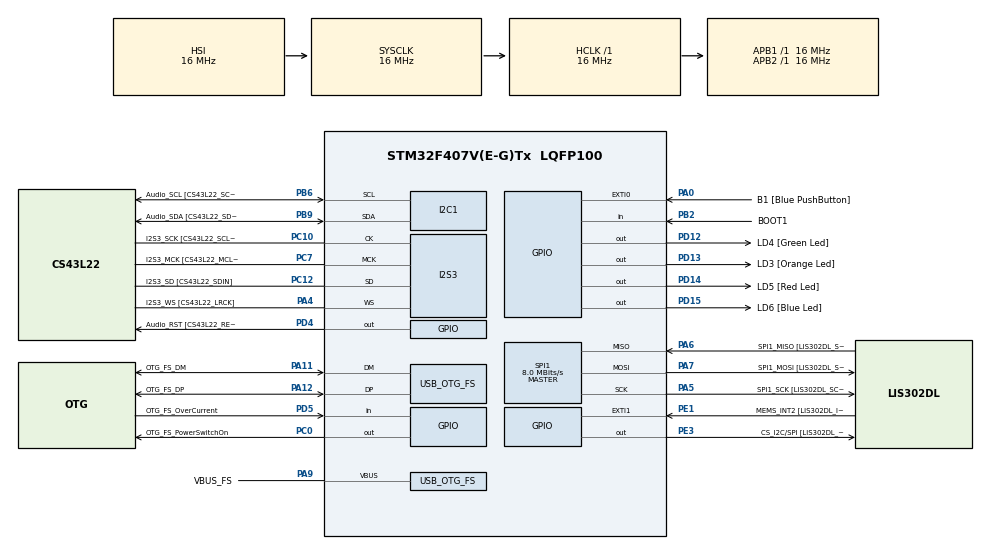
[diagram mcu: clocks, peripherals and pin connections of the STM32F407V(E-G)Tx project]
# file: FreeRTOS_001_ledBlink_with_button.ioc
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FREERTOS.Tasks01=button,24,128,buttonControlTest,Default,NULL,Dynamic,NULL,NULL;led,24,128,ledFlashTask,Default,NULL,Dynamic,NULL,NULL
FREERTOS.configENABLE_FPU=1
I2S3.AudioFreq-Half_Duplex_Master=I2S_AUDIOFREQ_96K
I2S3.ErrorAudioFreq=-2.34 %
I2S3.ErrorAudioFreq-Half_Duplex_Master=0.8 %
I2S3.FullDuplexMode=I2S_FULLDUPLEXMODE_DISABLE
I2S3.Instance=SPI$Index
I2S3.RealAudioFreq=93.75 KHz
I2S3.RealAudioFreq-Half_Duplex_Master=96.774 KHz
I2S3.VirtualMode=I2S_MODE_MASTER
Mcu.Family=STM32F4
Mcu.Name=STM32F407V(E-G)Tx
Mcu.Package=LQFP100
NVIC.OTG_FS_IRQn=true\:5\:0\:false\:false\:true\:true\:true\:true\:true
NVIC.PriorityGroup=NVIC_PRIORITYGROUP_4
PA0-WKUP.GPIO_Label=B1 [Blue PushButton]
PA0-WKUP.GPIO_ModeDefaultEXTI=GPIO_MODE_EVT_RISING
PA0-WKUP.GPIO_PuPd=GPIO_NOPULL
PA0-WKUP.Signal=GPXTI0
PA10.GPIO_Label=OTG_FS_ID
PA10.GPIO_Mode=GPIO_MODE_AF_PP
PA10.GPIO_PuPd=GPIO_NOPULL
PA10.GPIO_Speed=GPIO_SPEED_FREQ_LOW
PA10.Signal=USB_OTG_FS_ID
PA11.GPIO_Label=OTG_FS_DM
PA11.GPIO_Mode=GPIO_MODE_AF_PP
PA11.GPIO_PuPd=GPIO_NOPULL
PA11.GPIO_Speed=GPIO_SPEED_FREQ_LOW
PA11.Mode=Host_Only
PA11.Signal=USB_OTG_FS_DM
PA12.GPIO_Label=OTG_FS_DP
PA12.GPIO_Mode=GPIO_MODE_AF_PP
PA12.GPIO_PuPd=GPIO_NOPULL
PA12.GPIO_Speed=GPIO_SPEED_FREQ_LOW
PA12.Mode=Host_Only
PA12.Signal=USB_OTG_FS_DP
PA13.GPIO_Label=SWDIO
PA13.Mode=Serial_Wire
PA13.Signal=SYS_JTMS-SWDIO
PA14.GPIO_Label=SWCLK
PA14.Mode=Serial_Wire
PA14.Signal=SYS_JTCK-SWCLK
PA4.GPIO_Label=I2S3_WS [CS43L22_LRCK]
PA4.GPIO_Mode=GPIO_MODE_AF_PP
PA4.GPIO_PuPd=GPIO_NOPULL
PA4.GPIO_Speed=GPIO_SPEED_FREQ_LOW
PA4.Mode=Half_Duplex_Master
PA4.Signal=I2S3_WS
PA5.GPIO_Label=SPI1_SCK [LIS302DL_SCL/SPC]
PA5.GPIO_Mode=GPIO_MODE_AF_PP
PA5.GPIO_PuPd=GPIO_NOPULL
PA5.GPIO_Speed=GPIO_SPEED_FREQ_LOW
PA5.Mode=Full_Duplex_Master
PA5.Signal=SPI1_SCK
PA6.GPIO_Label=SPI1_MISO [LIS302DL_SDO]
PA6.GPIO_Mode=GPIO_MODE_AF_PP
PA6.GPIO_PuPd=GPIO_NOPULL
PA6.GPIO_Speed=GPIO_SPEED_FREQ_LOW
PA6.Mode=Full_Duplex_Master
PA6.Signal=SPI1_MISO
PA7.GPIO_Label=SPI1_MOSI [LIS302DL_SDA/SDI/SDO]
PA7.GPIO_Mode=GPIO_MODE_AF_PP
PA7.GPIO_PuPd=GPIO_NOPULL
PA7.GPIO_Speed=GPIO_SPEED_FREQ_LOW
PA7.Mode=Full_Duplex_Master
PA7.Signal=SPI1_MOSI
PA9.GPIO_Label=VBUS_FS
PA9.GPIO_Mode=GPIO_MODE_INPUT
PA9.GPIO_PuPd=GPIO_NOPULL
PA9.Mode=Activate_VBUS
PA9.Signal=USB_OTG_FS_VBUS
PB10.GPIO_Label=CLK_IN [MP45DT02_CLK]
PB10.GPIO_Mode=GPIO_MODE_AF_PP
PB10.GPIO_PuPd=GPIO_NOPULL
PB10.GPIO_Speed=GPIO_SPEED_FREQ_LOW
PB10.Signal=I2S2_CK
PB2.GPIO_Label=BOOT1
PB2.GPIO_Mode=GPIO_MODE_INPUT
PB2.GPIO_PuPd=GPIO_NOPULL
PB2.Signal=GPIO_Input
PB3.GPIO_Label=SWO
PB3.Signal=SYS_JTDO-SWO
PB6.GPIO_Label=Audio_SCL [CS43L22_SCL]
PB6.GPIO_Mode=GPIO_MODE_AF_OD
PB6.GPIO_Pu=GPIO_PULLUP
PB6.GPIO_PuPd=GPIO_NOPULL
PB6.GPIO_Speed=GPIO_SPEED_FREQ_LOW
PB6.Mode=I2C
PB6.Signal=I2C1_SCL
PB9.GPIO_Label=Audio_SDA [CS43L22_SDA]
PB9.GPIO_Mode=GPIO_MODE_AF_OD
PB9.GPIO_Pu=GPIO_PULLUP
PB9.GPIO_PuPd=GPIO_NOPULL
PB9.GPIO_Speed=GPIO_SPEED_FREQ_LOW
PB9.Mode=I2C
PB9.Signal=I2C1_SDA
PC0.GPIO_Label=OTG_FS_PowerSwitchOn
PC0.GPIO_PuPd=GPIO_NOPULL
PC0.GPIO_Speed=GPIO_SPEED_FREQ_LOW
PC0.PinState=GPIO_PIN_SET
PC0.Signal=GPIO_Output
PC10.GPIO_Label=I2S3_SCK [CS43L22_SCLK]
PC10.GPIO_Mode=GPIO_MODE_AF_PP
PC10.GPIO_PuPd=GPIO_NOPULL
PC10.GPIO_Speed=GPIO_SPEED_FREQ_LOW
PC10.Mode=Half_Duplex_Master
PC10.Signal=I2S3_CK
PC12.GPIO_Label=I2S3_SD [CS43L22_SDIN]
PC12.GPIO_Mode=GPIO_MODE_AF_PP
PC12.GPIO_PuPd=GPIO_NOPULL
PC12.GPIO_Speed=GPIO_SPEED_FREQ_LOW
PC12.Mode=Half_Duplex_Master
PC12.Signal=I2S3_SD
PC14-OSC32_IN.GPIO_Label=PC14-OSC32_IN
PC14-OSC32_IN.Mode=LSE-External-Oscillator
PC14-OSC32_IN.Signal=RCC_OSC32_IN
PC15-OSC32_OUT.GPIO_Label=PC15-OSC32_OUT
PC15-OSC32_OUT.Mode=LSE-External-Oscillator
PC15-OSC32_OUT.Signal=RCC_OSC32_OUT
PC3.GPIO_Label=PDM_OUT [MP45DT02_DOUT]
PC3.GPIO_Mode=GPIO_MODE_AF_PP
PC3.GPIO_PuPd=GPIO_NOPULL
PC3.GPIO_Speed=GPIO_SPEED_FREQ_LOW
PC3.Signal=I2S2_SD
PC7.GPIO_Label=I2S3_MCK [CS43L22_MCLK]
PC7.GPIO_Mode=GPIO_MODE_AF_PP
PC7.GPIO_PuPd=GPIO_NOPULL
PC7.GPIO_Speed=GPIO_SPEED_FREQ_LOW
PC7.Mode=Master_Clock_Activated
PC7.Signal=I2S3_MCK
PD12.GPIO_Label=LD4 [Green Led]
PD12.GPIO_PuPd=GPIO_NOPULL
PD12.GPIO_Speed=GPIO_SPEED_FREQ_LOW
PD12.Signal=GPIO_Output
PD13.GPIO_Label=LD3 [Orange Led]
PD13.GPIO_PuPd=GPIO_NOPULL
PD13.GPIO_Speed=GPIO_SPEED_FREQ_LOW
PD13.Signal=GPIO_Output
PD14.GPIO_Label=LD5 [Red Led]
PD14.GPIO_PuPd=GPIO_NOPULL
PD14.GPIO_Speed=GPIO_SPEED_FREQ_LOW
PD14.Signal=GPIO_Output
PD15.GPIO_Label=LD6 [Blue Led]
PD15.GPIO_PuPd=GPIO_NOPULL
PD15.GPIO_Speed=GPIO_SPEED_FREQ_LOW
PD15.Signal=GPIO_Output
PD4.GPIO_Label=Audio_RST [CS43L22_RESET]
PD4.GPIO_PuPd=GPIO_NOPULL
PD4.GPIO_Speed=GPIO_SPEED_FREQ_LOW
PD4.Signal=GPIO_Output
PD5.GPIO_Label=OTG_FS_OverCurrent
PD5.GPIO_Mode=GPIO_MODE_INPUT
PD5.GPIO_PuPd=GPIO_NOPULL
PD5.Signal=GPIO_Input
PE1.GPIO_Label=MEMS_INT2 [LIS302DL_INT2]
PE1.GPIO_ModeDefaultEXTI=GPIO_MODE_EVT_RISING
PE1.GPIO_PuPd=GPIO_NOPULL
PE1.Signal=GPXTI1
PE3.GPIO_Label=CS_I2C/SPI [LIS302DL_CS_I2C/SPI]
PE3.GPIO_PuPd=GPIO_NOPULL
PE3.GPIO_Speed=GPIO_SPEED_FREQ_LOW
PE3.Signal=GPIO_Output
PH0-OSC_IN.GPIO_Label=PH0-OSC_IN
PH0-OSC_IN.Mode=HSE-External-Oscillator
PH0-OSC_IN.Signal=RCC_OSC_IN
PH1-OSC_OUT.GPIO_Label=PH1-OSC_OUT
PH1-OSC_OUT.Mode=HSE-External-Oscillator
PH1-OSC_OUT.Signal=RCC_OSC_OUT
ProjectManager.HeapSize=0x200
ProjectManager.StackSize=0x400
ProjectManager.TargetToolchain=STM32CubeIDE
RCC.48MHZClocksFreq_Value=48000000
RCC.AHBFreq_Value=16000000
RCC.APB1Freq_Value=16000000
RCC.APB1TimFreq_Value=16000000
RCC.APB2Freq_Value=16000000
RCC.APB2TimFreq_Value=16000000
RCC.CortexFreq_Value=16000000
RCC.HCLKFreq_Value=16000000
RCC.HSE_VALUE=8000000
RCC.HSI_VALUE=16000000
RCC.PLLM=8
RCC.PLLN=336
RCC.PLLQ=7
RCC.SYSCLKFreq_VALUE=16000000
RCC.VCOOutputFreq_Value=336000000
SPI1.BaudRatePrescaler-Full_Duplex_Master=SPI_BAUDRATEPRESCALER_2
SPI1.CalculateBaudRate=8.0 MBits/s
SPI1.CalculateBaudRate-Full_Duplex_Master=42.0 MBits/s
SPI1.Direction=SPI_DIRECTION_2LINES
SPI1.Mode=SPI_MODE_MASTER
SPI1.Mode-Full_Duplex_Master=SPI_MODE_MASTER
SPI1.VirtualType=VM_MASTER
USB_HOST.BSP.number=1
USB_HOST.USBH_HandleTypeDef-CDC_FS=hUsbHostFS
USB_HOST.VirtualModeFS=Cdc
USB_HOST0.BSP.STBoard=false
USB_HOST0.BSP.api=Unknown
USB_HOST0.BSP.instance=PC0
USB_HOST0.BSP.ip=GPIO
USB_HOST0.BSP.mode=Output
USB_HOST0.BSP.name=Drive_VBUS_FS
USB_HOST0.BSP.solution=PC0
USB_OTG_FS.VirtualMode=Host_Only
USB_OTG_FS.phy_itface=HCD_PHY_EMBEDDED
VP_FREERTOS_VS_CMSIS_V2.Mode=CMSIS_V2
VP_USB_HOST_VS_USB_HOST_CDC_FS.Mode=CDC_FS
board=STM32F407G-DISC1

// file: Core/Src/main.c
/* USER CODE BEGIN Header */
/**
  ******************************************************************************
  * @file           : main.c
  * @brief          : Main program body
  ******************************************************************************
  * @attention
  *
  * Copyright (c) 2024 STMicroelectronics.
  * All rights reserved.
  *
  * This software is licensed under terms that can be found in the LICENSE file
  * in the root directory of this software component.
  * If no LICENSE file comes with this software, it is provided AS-IS.
  *
  ******************************************************************************
  */
/* USER CODE END Header */
#include "main.h"
#include "cmsis_os.h"
#include "usb_host.h"

I2C_HandleTypeDef hi2c1;

I2S_HandleTypeDef hi2s3;

SPI_HandleTypeDef hspi1;

/* Definitions for button */
osThreadId_t buttonHandle;
const osThreadAttr_t button_attributes = {
  .name = "button",
  .stack_size = 128 * 4,
  .priority = (osPriority_t) osPriorityNormal,
};
/* Definitions for led */
osThreadId_t ledHandle;
const osThreadAttr_t led_attributes = {
  .name = "led",
  .stack_size = 128 * 4,
  .priority = (osPriority_t) osPriorityNormal,
};
/* USER CODE BEGIN PV */

uint8_t buttonCounter = 0;

/* USER CODE END PV */

void SystemClock_Config(void);
static void MX_GPIO_Init(void);
static void MX_I2C1_Init(void);
static void MX_I2S3_Init(void);
static void MX_SPI1_Init(void);
void buttonControlTest(void *argument);
void ledFlashTask(void *argument);

int main(void)
{

  /* MCU Configuration--------------------------------------------------------*/

  /* Reset of all peripherals, Initializes the Flash interface and the Systick. */
  HAL_Init();

  /* Configure the system clock */
  SystemClock_Config();

  /* Initialize all configured peripherals */
  MX_GPIO_Init();
  MX_I2C1_Init();
  MX_I2S3_Init();
  MX_SPI1_Init();

  /* Init scheduler */
  osKernelInitialize();

  /* Create the thread(s) */
  /* creation of button */
  buttonHandle = osThreadNew(buttonControlTest, NULL, &button_attributes);

  /* creation of led */
  ledHandle = osThreadNew(ledFlashTask, NULL, &led_attributes);

  /* Start scheduler */
  osKernelStart();

  /* We should never get here as control is now taken by the scheduler */
  /* Infinite loop */
  while (1)
  {

  }
}

void SystemClock_Config(void)
{
  RCC_OscInitTypeDef RCC_OscInitStruct = {0};
  RCC_ClkInitTypeDef RCC_ClkInitStruct = {0};

  /** Configure the main internal regulator output voltage
  */
  __HAL_RCC_PWR_CLK_ENABLE();
  __HAL_PWR_VOLTAGESCALING_CONFIG(PWR_REGULATOR_VOLTAGE_SCALE1);

  /** Initializes the RCC Oscillators according to the specified parameters
  * in the RCC_OscInitTypeDef structure.
  */
  RCC_OscInitStruct.OscillatorType = RCC_OSCILLATORTYPE_HSI|RCC_OSCILLATORTYPE_HSE;
  RCC_OscInitStruct.HSEState = RCC_HSE_ON;
  RCC_OscInitStruct.HSIState = RCC_HSI_ON;
  RCC_OscInitStruct.HSICalibrationValue = RCC_HSICALIBRATION_DEFAULT;
  RCC_OscInitStruct.PLL.PLLState = RCC_PLL_ON;
  RCC_OscInitStruct.PLL.PLLSource = RCC_PLLSOURCE_HSE;
  RCC_OscInitStruct.PLL.PLLM = 8;
  RCC_OscInitStruct.PLL.PLLN = 336;
  RCC_OscInitStruct.PLL.PLLP = RCC_PLLP_DIV2;
  RCC_OscInitStruct.PLL.PLLQ = 7;
  if (HAL_RCC_OscConfig(&RCC_OscInitStruct) != HAL_OK)
  {
    Error_Handler();
  }

  /** Initializes the CPU, AHB and APB buses clocks
  */
  RCC_ClkInitStruct.ClockType = RCC_CLOCKTYPE_HCLK|RCC_CLOCKTYPE_SYSCLK
                              |RCC_CLOCKTYPE_PCLK1|RCC_CLOCKTYPE_PCLK2;
  RCC_ClkInitStruct.SYSCLKSource = RCC_SYSCLKSOURCE_HSI;
  RCC_ClkInitStruct.AHBCLKDivider = RCC_SYSCLK_DIV1;
  RCC_ClkInitStruct.APB1CLKDivider = RCC_HCLK_DIV1;
  RCC_ClkInitStruct.APB2CLKDivider = RCC_HCLK_DIV1;

  if (HAL_RCC_ClockConfig(&RCC_ClkInitStruct, FLASH_LATENCY_0) != HAL_OK)
  {
    Error_Handler();
  }
}

static void MX_I2C1_Init(void)
{

  hi2c1.Instance = I2C1;
  hi2c1.Init.ClockSpeed = 100000;
  hi2c1.Init.DutyCycle = I2C_DUTYCYCLE_2;
  hi2c1.Init.OwnAddress1 = 0;
  hi2c1.Init.AddressingMode = I2C_ADDRESSINGMODE_7BIT;
  hi2c1.Init.DualAddressMode = I2C_DUALADDRESS_DISABLE;
  hi2c1.Init.OwnAddress2 = 0;
  hi2c1.Init.GeneralCallMode = I2C_GENERALCALL_DISABLE;
  hi2c1.Init.NoStretchMode = I2C_NOSTRETCH_DISABLE;
  if (HAL_I2C_Init(&hi2c1) != HAL_OK)
  {
    Error_Handler();
  }

}

static void MX_I2S3_Init(void)
{

  hi2s3.Instance = SPI3;
  hi2s3.Init.Mode = I2S_MODE_MASTER_TX;
  hi2s3.Init.Standard = I2S_STANDARD_PHILIPS;
  hi2s3.Init.DataFormat = I2S_DATAFORMAT_16B;
  hi2s3.Init.MCLKOutput = I2S_MCLKOUTPUT_ENABLE;
  hi2s3.Init.AudioFreq = I2S_AUDIOFREQ_96K;
  hi2s3.Init.CPOL = I2S_CPOL_LOW;
  hi2s3.Init.ClockSource = I2S_CLOCK_PLL;
  hi2s3.Init.FullDuplexMode = I2S_FULLDUPLEXMODE_DISABLE;
  if (HAL_I2S_Init(&hi2s3) != HAL_OK)
  {
    Error_Handler();
  }

}

static void MX_SPI1_Init(void)
{

  /* SPI1 parameter configuration*/
  hspi1.Instance = SPI1;
  hspi1.Init.Mode = SPI_MODE_MASTER;
  hspi1.Init.Direction = SPI_DIRECTION_2LINES;
  hspi1.Init.DataSize = SPI_DATASIZE_8BIT;
  hspi1.Init.CLKPolarity = SPI_POLARITY_LOW;
  hspi1.Init.CLKPhase = SPI_PHASE_1EDGE;
  hspi1.Init.NSS = SPI_NSS_SOFT;
  hspi1.Init.BaudRatePrescaler = SPI_BAUDRATEPRESCALER_2;
  hspi1.Init.FirstBit = SPI_FIRSTBIT_MSB;
  hspi1.Init.TIMode = SPI_TIMODE_DISABLE;
  hspi1.Init.CRCCalculation = SPI_CRCCALCULATION_DISABLE;
  hspi1.Init.CRCPolynomial = 10;
  if (HAL_SPI_Init(&hspi1) != HAL_OK)
  {
    Error_Handler();
  }

}

static void MX_GPIO_Init(void)
{
  GPIO_InitTypeDef GPIO_InitStruct = {0};

  /* GPIO Ports Clock Enable */
  __HAL_RCC_GPIOE_CLK_ENABLE();
  __HAL_RCC_GPIOC_CLK_ENABLE();
  __HAL_RCC_GPIOH_CLK_ENABLE();
  __HAL_RCC_GPIOA_CLK_ENABLE();
  __HAL_RCC_GPIOB_CLK_ENABLE();
  __HAL_RCC_GPIOD_CLK_ENABLE();

  /*Configure GPIO pin Output Level */
  HAL_GPIO_WritePin(CS_I2C_SPI_GPIO_Port, CS_I2C_SPI_Pin, GPIO_PIN_RESET);

  /*Configure GPIO pin Output Level */
  HAL_GPIO_WritePin(OTG_FS_PowerSwitchOn_GPIO_Port, OTG_FS_PowerSwitchOn_Pin, GPIO_PIN_SET);

  /*Configure GPIO pin Output Level */
  HAL_GPIO_WritePin(GPIOD, LD4_Pin|LD3_Pin|LD5_Pin|LD6_Pin
                          |Audio_RST_Pin, GPIO_PIN_RESET);

  /*Configure GPIO pin : CS_I2C_SPI_Pin */
  GPIO_InitStruct.Pin = CS_I2C_SPI_Pin;
  GPIO_InitStruct.Mode = GPIO_MODE_OUTPUT_PP;
  GPIO_InitStruct.Pull = GPIO_NOPULL;
  GPIO_InitStruct.Speed = GPIO_SPEED_FREQ_LOW;
  HAL_GPIO_Init(CS_I2C_SPI_GPIO_Port, &GPIO_InitStruct);

  /*Configure GPIO pin : OTG_FS_PowerSwitchOn_Pin */
  GPIO_InitStruct.Pin = OTG_FS_PowerSwitchOn_Pin;
  GPIO_InitStruct.Mode = GPIO_MODE_OUTPUT_PP;
  GPIO_InitStruct.Pull = GPIO_NOPULL;
  GPIO_InitStruct.Speed = GPIO_SPEED_FREQ_LOW;
  HAL_GPIO_Init(OTG_FS_PowerSwitchOn_GPIO_Port, &GPIO_InitStruct);

  /*Configure GPIO pin : PDM_OUT_Pin */
  GPIO_InitStruct.Pin = PDM_OUT_Pin;
  GPIO_InitStruct.Mode = GPIO_MODE_AF_PP;
  GPIO_InitStruct.Pull = GPIO_NOPULL;
  GPIO_InitStruct.Speed = GPIO_SPEED_FREQ_LOW;
  GPIO_InitStruct.Alternate = GPIO_AF5_SPI2;
  HAL_GPIO_Init(PDM_OUT_GPIO_Port, &GPIO_InitStruct);

  /*Configure GPIO pin : B1_Pin */
  GPIO_InitStruct.Pin = B1_Pin;
  GPIO_InitStruct.Mode = GPIO_MODE_EVT_RISING;
  GPIO_InitStruct.Pull = GPIO_NOPULL;
  HAL_GPIO_Init(B1_GPIO_Port, &GPIO_InitStruct);

  /*Configure GPIO pin : BOOT1_Pin */
  GPIO_InitStruct.Pin = BOOT1_Pin;
  GPIO_InitStruct.Mode = GPIO_MODE_INPUT;
  GPIO_InitStruct.Pull = GPIO_NOPULL;
  HAL_GPIO_Init(BOOT1_GPIO_Port, &GPIO_InitStruct);

  /*Configure GPIO pin : CLK_IN_Pin */
  GPIO_InitStruct.Pin = CLK_IN_Pin;
  GPIO_InitStruct.Mode = GPIO_MODE_AF_PP;
  GPIO_InitStruct.Pull = GPIO_NOPULL;
  GPIO_InitStruct.Speed = GPIO_SPEED_FREQ_LOW;
  GPIO_InitStruct.Alternate = GPIO_AF5_SPI2;
  HAL_GPIO_Init(CLK_IN_GPIO_Port, &GPIO_InitStruct);

  /*Configure GPIO pins : LD4_Pin LD3_Pin LD5_Pin LD6_Pin
                           Audio_RST_Pin */
  GPIO_InitStruct.Pin = LD4_Pin|LD3_Pin|LD5_Pin|LD6_Pin
                          |Audio_RST_Pin;
  GPIO_InitStruct.Mode = GPIO_MODE_OUTPUT_PP;
  GPIO_InitStruct.Pull = GPIO_NOPULL;
  GPIO_InitStruct.Speed = GPIO_SPEED_FREQ_LOW;
  HAL_GPIO_Init(GPIOD, &GPIO_InitStruct);

  /*Configure GPIO pin : OTG_FS_OverCurrent_Pin */
  GPIO_InitStruct.Pin = OTG_FS_OverCurrent_Pin;
  GPIO_InitStruct.Mode = GPIO_MODE_INPUT;
  GPIO_InitStruct.Pull = GPIO_NOPULL;
  HAL_GPIO_Init(OTG_FS_OverCurrent_GPIO_Port, &GPIO_InitStruct);

  /*Configure GPIO pin : MEMS_INT2_Pin */
  GPIO_InitStruct.Pin = MEMS_INT2_Pin;
  GPIO_InitStruct.Mode = GPIO_MODE_EVT_RISING;
  GPIO_InitStruct.Pull = GPIO_NOPULL;
  HAL_GPIO_Init(MEMS_INT2_GPIO_Port, &GPIO_InitStruct);

}

void buttonControlTest(void *argument)
{
  /* init code for USB_HOST */
  MX_USB_HOST_Init();
  /* USER CODE BEGIN 5 */
  /* Infinite loop */
  for(;;)
  {
	  if(HAL_GPIO_ReadPin(B1_GPIO_Port, B1_Pin) == GPIO_PIN_SET){
		  //wait to raise hand from button
		  while(HAL_GPIO_ReadPin(B1_GPIO_Port, B1_Pin) == GPIO_PIN_SET);
		  buttonCounter +=1;
		  osDelay(10);
	  }
  }
  /* USER CODE END 5 */
}

void ledFlashTask(void *argument)
{
  /* USER CODE BEGIN ledFlashTask */
  /* Infinite loop */
  for(;;)
  {
	  if(buttonCounter == 0){
		  HAL_GPIO_WritePin(LD3_GPIO_Port, LD3_Pin | LD4_Pin |LD5_Pin| LD6_Pin, GPIO_PIN_RESET);
	  }
	  else if (buttonCounter == 1 ){
		  HAL_GPIO_TogglePin(LD3_GPIO_Port, LD3_Pin | LD4_Pin |LD5_Pin| LD6_Pin);
		  osDelay(1000);

	  }
	  else if (buttonCounter == 2 ){
	  		  HAL_GPIO_TogglePin(LD3_GPIO_Port, LD3_Pin | LD4_Pin |LD5_Pin| LD6_Pin);
	  		  osDelay(750);

	  }
	  else if (buttonCounter == 3 ){
	  		  HAL_GPIO_TogglePin(LD3_GPIO_Port, LD3_Pin | LD4_Pin |LD5_Pin| LD6_Pin);
	  		  osDelay(500);

	  }
	  else if (buttonCounter == 4 ){
	  	  		  HAL_GPIO_TogglePin(LD3_GPIO_Port, LD3_Pin | LD4_Pin |LD5_Pin| LD6_Pin);
	  	  		  osDelay(250);

	  }
	  else{
		  buttonCounter = 0;
	  }
  }
  /* USER CODE END ledFlashTask */
}

void Error_Handler(void)
{
  __disable_irq();
  while (1)
  {
  }
}
